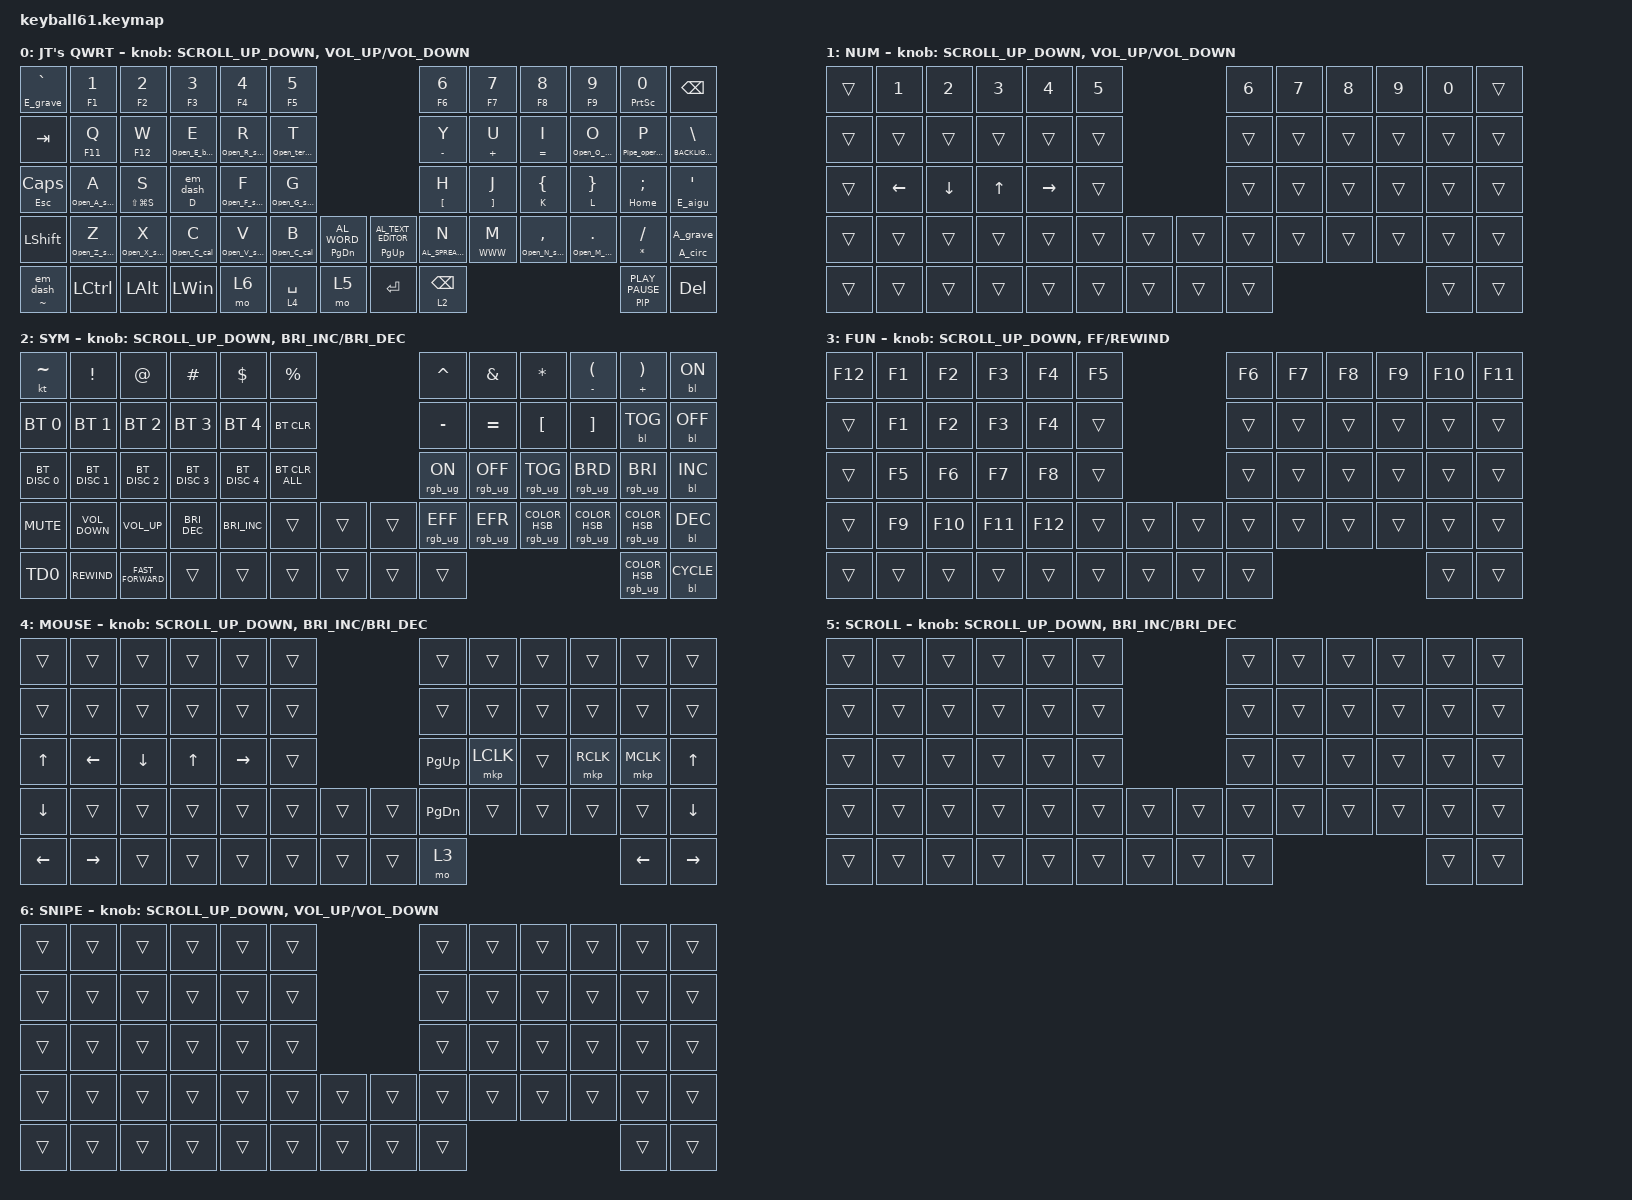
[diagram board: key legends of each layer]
#define DEFAULT 0
#define SYM     1
#define FUN     2
#define MOUSE   3
#define SCROLL  4
#define SNIPE   5

#include <behaviors/mouse_keys.dtsi>
#include <dt-bindings/zmk/mouse.h>
#include <zmk-helpers/helper.h>
#include <zmk-helpers/key-labels/glove80.h>
#include <behaviors.dtsi>
#include <dt-bindings/zmk/backlight.h>
#include <dt-bindings/zmk/bt.h>
#include <dt-bindings/zmk/ext_power.h>
#include <dt-bindings/zmk/keys.h>
#include <dt-bindings/zmk/pointing.h>
#include <dt-bindings/zmk/rgb.h>

&lt {
    tapping-term-ms = <240>;
    flavor = "balanced";
    quick-tap-ms = <150>;
};

&mt {
    tapping-term-ms = <200>;
    flavor = "tap-preferred";
    quick-tap-ms = <150>;
};

/ {
    behaviors {
        HML: HML {
            compatible = "zmk,behavior-hold-tap";
            label = "HML";
            bindings = <&kp>, <&kp>;

            #binding-cells = <2>;
            tapping-term-ms = <200>;
            quick-tap-ms = <175>;
            flavor = "tap-preferred";
            hold-trigger-on-release;
            hold-trigger-key-positions = <0 12 24 36 50 0 1 2 3 4 5 12 13 14 15 16 17 24 25 26 27 28 29 36 37 38 39 40 41 42 50 51 52 53 54 55 56 57 58 6 7 6 7 8 9 10 11 18 19 20 21 22 23 30 31 32 33 34 35 43 44 45 46 47 48 49 57 58 59 60>;
        };

        TD0: TD0 {
            compatible = "zmk,behavior-tap-dance";
            label = "TD0";
            #binding-cells = <0>;
            bindings = <&mt LSHFT W>, <&mkp RCLK>;
        };

        TRMNL: TRMNL {
            compatible = "zmk,behavior-hold-tap";
            label = "TRMNL";
            bindings = <&Open_terminal>, <&kp>;

            #binding-cells = <2>;
            tapping-term-ms = <200>;
            quick-tap-ms = <175>;
            flavor = "tap-preferred";
            hold-trigger-on-release;
            hold-trigger-key-positions = <0 12 24 36 50 0 1 2 3 4 5 12 13 14 15 16 17 24 25 26 27 28 29 36 37 38 39 40 41 42 50 51 52 53 54 55 56 57 58 0 1 2 3 4 5 12 13 14 15 16 17 24 25 26 27 28 29 36 37 38 39 40 41 42 50 51 52 53 54 55 56 57 58>;
        };

        SCROLL_UP_DOWN: behavior_sensor_rotate_mouse_wheel_up_down {
            compatible = "zmk,behavior-sensor-rotate";
            #sensor-binding-cells = <0>;
            bindings = <&msc SCRL_UP>, <&msc SCRL_DOWN>;

            tap-ms = <20>;
        };

        SCRS: SCRS {
            compatible = "zmk,behavior-hold-tap";
            label = "SCRS";
            #binding-cells = <2>;
            tapping-term-ms = <200>;
            quick-tap-ms = <175>;
            flavor = "tap-preferred";
            hold-trigger-on-release;
            hold-trigger-key-positions = <0 12 24 36 50 0 1 2 3 4 5 12 13 14 15 16 17 24 25 26 27 28 29 36 37 38 39 40 41 42 50 51 52 53 54 55 56 57 58 5 6 7 8 9 10 11 17 18 19 20 21 22 23 29 30 31 32 33 34 35 41 42 43 44 45 46 47 48 49 55 56 57 58 59 60>;
            bindings = <&Screenshot>, <&kp>;
        };

        CLBR: CLBR {
            compatible = "zmk,behavior-hold-tap";
            label = "CLBR";
            #binding-cells = <2>;
            tapping-term-ms = <200>;
            quick-tap-ms = <175>;
            flavor = "tap-preferred";
            hold-trigger-on-release;
            hold-trigger-key-positions = <0 12 24 36 50 0 1 2 3 4 5 12 13 14 15 16 17 24 25 26 27 28 29 36 37 38 39 40 41 42 50 51 52 53 54 55 56 57 58 0 1 2 3 4 5 12 13 14 15 16 17 24 25 26 27 28 29 36 37 38 39 40 41 42 50 51 52 53 54 55 56 57 58 6 7 8 9 10 11 18 19 20 21 22 23 30 31 32 33 34 35 43 44 45 46 47 48 49 58 59 60>;
            bindings = <&Open_C_cal>, <&kp>;
        };

        BRWSR: BRWSR {
            compatible = "zmk,behavior-hold-tap";
            label = "BRWSR";
            #binding-cells = <2>;
            tapping-term-ms = <200>;
            quick-tap-ms = <175>;
            flavor = "tap-preferred";
            hold-trigger-on-release;
            hold-trigger-key-positions = <0 12 24 36 50 0 1 2 3 4 5 12 13 14 15 16 17 24 25 26 27 28 29 36 37 38 39 40 41 42 50 51 52 53 54 55 56 57 58 0 1 2 3 4 5 12 13 14 15 16 17 24 25 26 27 28 29 36 37 38 39 40 41 42 50 51 52 53 54 55 56 57 58 6 7 8 9 10 11 18 19 20 21 22 23 30 31 32 33 34 35 43 44 45 46 47 48 49 56 57 58 59 60>;
            bindings = <&Open_E_browser>, <&kp>;
        };

        SH_EM_DASH: SH_EM_DASH {
            compatible = "zmk,behavior-hold-tap";
            label = "SH_EM_DASH";
            #binding-cells = <2>;
            tapping-term-ms = <200>;
            quick-tap-ms = <175>;
            flavor = "tap-preferred";
            hold-trigger-on-release;
            hold-trigger-key-positions = <0 12 24 36 50 0 1 2 3 4 5 12 13 14 15 16 17 24 25 26 27 28 29 36 37 38 39 40 41 42 50 51 52 53 54 55 56 57 58 0 1 2 3 4 5 12 13 14 15 16 17 24 25 26 27 28 29 36 37 38 39 40 41 42 50 51 52 53 54 55 56 57 58 6 7 8 9 10 11 18 19 20 21 22 23 30 31 32 33 34 35 42 43 44 45 46 47 48 49 56 57 58 59 60>;
            bindings = <&kp>, <&em_dash>;
        };

        BCKL: BCKL {
            compatible = "zmk,behavior-hold-tap";
            label = "BCKL";
            #binding-cells = <2>;
            tapping-term-ms = <200>;
            quick-tap-ms = <175>;
            flavor = "tap-preferred";
            hold-trigger-on-release;
            hold-trigger-key-positions = <0 12 24 36 50 0 1 2 3 4 5 12 13 14 15 16 17 24 25 26 27 28 29 36 37 38 39 40 41 42 50 51 52 53 54 55 56 57 58 0 1 2 3 4 5 12 13 14 15 16 17 24 25 26 27 28 29 36 37 38 39 40 41 42 50 51 52 53 54 55 56 57 58 6 7 5 6 7 8 9 10 11 17 18 19 20 21 22 23 29 30 31 32 33 34 35 41 42 43 44 45 46 47 48 49 54 55 56 57 58 59 60>;
            bindings = <&bl>, <&kp>;
        };

        BLTH: BLTH {
            compatible = "zmk,behavior-hold-tap";
            label = "BLTH";
            #binding-cells = <2>;
            tapping-term-ms = <200>;
            quick-tap-ms = <175>;
            flavor = "tap-preferred";
            hold-trigger-on-release;
            hold-trigger-key-positions = <0 12 24 36 50 0 1 2 3 4 5 12 13 14 15 16 17 24 25 26 27 28 29 36 37 38 39 40 41 42 50 51 52 53 54 55 56 57 58 0 1 2 3 4 5 12 13 14 15 16 17 24 25 26 27 28 29 36 37 38 39 40 41 42 50 51 52 53 54 55 56 57 58 5 6 7 8 9 10 11 17 18 19 20 21 22 23 29 30 31 32 33 34 35 41 42 43 44 45 46 47 48 49 55 56 57 58 59 60>;
            bindings = <&bt>, <&kp>;
        };

        S_SMTHNG: S_SMTHNG {
            compatible = "zmk,behavior-hold-tap";
            label = "S_SMTHNG";
            #binding-cells = <2>;
            tapping-term-ms = <200>;
            quick-tap-ms = <175>;
            flavor = "tap-preferred";
            hold-trigger-on-release;
            hold-trigger-key-positions = <0 12 24 36 50 0 1 2 3 4 5 12 13 14 15 16 17 24 25 26 27 28 29 36 37 38 39 40 41 42 50 51 52 53 54 55 56 57 58 0 1 2 3 4 5 12 13 14 15 16 17 24 25 26 27 28 29 36 37 38 39 40 41 42 50 51 52 53 54 55 56 57 58 5 6 7 8 9 10 11 17 18 19 20 21 22 23 29 30 31 32 33 34 35 41 42 43 44 45 46 47 48 49 55 56 57 58 59 60>;
            bindings = <&Open_S_smthng>, <&kp>;
        };

        BLTH_REV: BLTH_REV {
            compatible = "zmk,behavior-hold-tap";
            label = "BLTH_REV";
            #binding-cells = <2>;
            tapping-term-ms = <200>;
            quick-tap-ms = <175>;
            flavor = "tap-preferred";
            hold-trigger-on-release;
            hold-trigger-key-positions = <0 12 24 36 50 0 1 2 3 4 5 12 13 14 15 16 17 24 25 26 27 28 29 36 37 38 39 40 41 42 50 51 52 53 54 55 56 57 58 0 1 2 3 4 5 12 13 14 15 16 17 24 25 26 27 28 29 36 37 38 39 40 41 42 50 51 52 53 54 55 56 57 58>;
            bindings = <&kp>, <&bt>;
        };

        SH_EM_DASH_REV: SH_EM_DASH_REV {
            compatible = "zmk,behavior-hold-tap";
            label = "SH_EM_DASH_REV";
            #binding-cells = <2>;
            tapping-term-ms = <200>;
            quick-tap-ms = <175>;
            flavor = "tap-preferred";
            hold-trigger-on-release;
            hold-trigger-key-positions = <0 12 24 36 50 0 1 2 3 4 5 12 13 14 15 16 17 24 25 26 27 28 29 36 37 38 39 40 41 42 50 51 52 53 54 55 56 57 58 0 1 2 3 4 5 12 13 14 15 16 17 24 25 26 27 28 29 36 37 38 39 40 41 42 50 51 52 53 54 55 56 57 58 6 7 8 9 10 11 18 19 20 21 22 23 30 31 32 33 34 35 42 43 44 45 46 47 48 49 56 57 58 59 60>;
            bindings = <&em_dash>, <&kp>;
        };

        A_SMTHNG: A_SMTHNG {
            compatible = "zmk,behavior-hold-tap";
            label = "A_SMTHNG";
            #binding-cells = <2>;
            tapping-term-ms = <200>;
            quick-tap-ms = <175>;
            flavor = "tap-preferred";
            hold-trigger-on-release;
            hold-trigger-key-positions = <0 12 24 36 50 0 1 2 3 4 5 12 13 14 15 16 17 24 25 26 27 28 29 36 37 38 39 40 41 42 50 51 52 53 54 55 56 57 58 0 1 2 3 4 5 12 13 14 15 16 17 24 25 26 27 28 29 36 37 38 39 40 41 42 50 51 52 53 54 55 56 57 58 6 7 8 9 10 11 18 19 20 21 22 23 30 31 32 33 34 35 43 44 45 46 47 48 49 57 58 59 60>;
            bindings = <&Open_A_smthng>, <&kp>;
        };

        F_SMTHNG: F_SMTHNG {
            compatible = "zmk,behavior-hold-tap";
            label = "F_SMTHNG";
            #binding-cells = <2>;
            tapping-term-ms = <200>;
            quick-tap-ms = <175>;
            flavor = "tap-preferred";
            hold-trigger-on-release;
            hold-trigger-key-positions = <0 12 24 36 50 0 1 2 3 4 5 12 13 14 15 16 17 24 25 26 27 28 29 36 37 38 39 40 41 42 50 51 52 53 54 55 56 57 58 0 1 2 3 4 5 12 13 14 15 16 17 24 25 26 27 28 29 36 37 38 39 40 41 42 50 51 52 53 54 55 56 57 58 6 7 8 9 10 11 18 19 20 21 22 23 30 31 32 33 34 35 42 43 44 45 46 47 48 49 58 59 60>;
            bindings = <&Open_F_smthng>, <&kp>;
        };

        G_SMTHNG: G_SMTHNG {
            compatible = "zmk,behavior-hold-tap";
            label = "G_SMTHNG";
            #binding-cells = <2>;
            tapping-term-ms = <200>;
            quick-tap-ms = <175>;
            flavor = "tap-preferred";
            hold-trigger-on-release;
            hold-trigger-key-positions = <0 12 24 36 50 0 1 2 3 4 5 12 13 14 15 16 17 24 25 26 27 28 29 36 37 38 39 40 41 42 50 51 52 53 54 55 56 57 58 0 1 2 3 4 5 12 13 14 15 16 17 24 25 26 27 28 29 36 37 38 39 40 41 42 50 51 52 53 54 55 56 57 58 5 6 7 8 9 10 11 17 18 19 20 21 22 23 29 30 31 32 33 34 35 41 42 43 44 45 46 47 48 49 55 56 57 58 59 60>;
            bindings = <&Open_G_smthng>, <&kp>;
        };

        Z_SMTHNG: Z_SMTHNG {
            compatible = "zmk,behavior-hold-tap";
            label = "Z_SMTHNG";
            #binding-cells = <2>;
            tapping-term-ms = <200>;
            quick-tap-ms = <175>;
            flavor = "tap-preferred";
            hold-trigger-on-release;
            hold-trigger-key-positions = <0 12 24 36 50 0 1 2 3 4 5 12 13 14 15 16 17 24 25 26 27 28 29 36 37 38 39 40 41 42 50 51 52 53 54 55 56 57 58 0 1 2 3 4 5 12 13 14 15 16 17 24 25 26 27 28 29 36 37 38 39 40 41 42 50 51 52 53 54 55 56 57 58 5 6 7 8 9 10 11 17 18 19 20 21 22 23 29 30 31 32 33 34 35 41 42 43 44 45 46 47 48 49 54 55 56 57 58 59 60>;
            bindings = <&Open_Z_smthng>, <&kp>;
        };

        X_SMTHNG: X_SMTHNG {
            compatible = "zmk,behavior-hold-tap";
            label = "X_SMTHNG";
            #binding-cells = <2>;
            tapping-term-ms = <200>;
            quick-tap-ms = <175>;
            flavor = "tap-preferred";
            hold-trigger-on-release;
            hold-trigger-key-positions = <0 12 24 36 50 0 1 2 3 4 5 12 13 14 15 16 17 24 25 26 27 28 29 36 37 38 39 40 41 42 50 51 52 53 54 55 56 57 58 0 1 2 3 4 5 12 13 14 15 16 17 24 25 26 27 28 29 36 37 38 39 40 41 42 50 51 52 53 54 55 56 57 58 6 7 8 9 10 11 18 19 20 21 22 23 30 31 32 33 34 35 42 43 44 45 46 47 48 49 55 56 57 58 59 60>;
            bindings = <&Open_X_smthng>, <&kp>;
        };

        V_SMTHNG: V_SMTHNG {
            compatible = "zmk,behavior-hold-tap";
            label = "V_SMTHNG";
            #binding-cells = <2>;
            tapping-term-ms = <200>;
            quick-tap-ms = <175>;
            flavor = "tap-preferred";
            hold-trigger-on-release;
            hold-trigger-key-positions = <0 12 24 36 50 0 1 2 3 4 5 12 13 14 15 16 17 24 25 26 27 28 29 36 37 38 39 40 41 42 50 51 52 53 54 55 56 57 58 0 1 2 3 4 5 12 13 14 15 16 17 24 25 26 27 28 29 36 37 38 39 40 41 42 50 51 52 53 54 55 56 57 58 6 7 8 9 10 11 18 19 20 21 22 23 30 31 32 33 34 35 42 43 44 45 46 47 48 49 56 57 58 59 60>;
            bindings = <&Open_V_smthng>, <&kp>;
        };

        B_SMTHNG: B_SMTHNG {
            compatible = "zmk,behavior-hold-tap";
            label = "B_SMTHNG";
            #binding-cells = <2>;
            tapping-term-ms = <200>;
            quick-tap-ms = <175>;
            flavor = "tap-preferred";
            hold-trigger-on-release;
            hold-trigger-key-positions = <0 12 24 36 50 0 1 2 3 4 5 12 13 14 15 16 17 24 25 26 27 28 29 36 37 38 39 40 41 42 50 51 52 53 54 55 56 57 58 0 1 2 3 4 5 12 13 14 15 16 17 24 25 26 27 28 29 36 37 38 39 40 41 42 50 51 52 53 54 55 56 57 58 4 5 6 7 8 9 10 11 16 17 18 19 20 21 22 23 28 29 30 31 32 33 34 35 40 41 42 43 44 45 46 47 48 49 54 55 56 57 58 59 60>;
            bindings = <&Open_B_smthng>, <&kp>;
        };

        O_SMTHNG: O_SMTHNG {
            compatible = "zmk,behavior-hold-tap";
            label = "O_SMTHNG";
            #binding-cells = <2>;
            tapping-term-ms = <200>;
            quick-tap-ms = <175>;
            flavor = "tap-preferred";
            hold-trigger-on-release;
            hold-trigger-key-positions = <0 12 24 36 50 0 1 2 3 4 5 12 13 14 15 16 17 24 25 26 27 28 29 36 37 38 39 40 41 42 50 51 52 53 54 55 56 57 58 0 1 2 3 4 5 12 13 14 15 16 17 24 25 26 27 28 29 36 37 38 39 40 41 42 50 51 52 53 54 55 56 57 58 6 7 8 9 10 11 18 19 20 21 22 23 30 31 32 33 34 35 42 43 44 45 46 47 48 49 55 56 57 58 59 60>;
            bindings = <&Open_O_smthng>, <&kp>;
        };

        N_SMTHNG: N_SMTHNG {
            compatible = "zmk,behavior-hold-tap";
            label = "N_SMTHNG";
            #binding-cells = <2>;
            tapping-term-ms = <200>;
            quick-tap-ms = <175>;
            flavor = "tap-preferred";
            hold-trigger-on-release;
            hold-trigger-key-positions = <0 12 24 36 50 0 1 2 3 4 5 12 13 14 15 16 17 24 25 26 27 28 29 36 37 38 39 40 41 42 50 51 52 53 54 55 56 57 58 0 1 2 3 4 5 12 13 14 15 16 17 24 25 26 27 28 29 36 37 38 39 40 41 42 50 51 52 53 54 55 56 57 58 6 7 8 9 10 11 18 19 20 21 22 23 30 31 32 33 34 35 42 43 44 45 46 47 48 49 55 56 57 58 59 60>;
            bindings = <&Open_N_smthng>, <&kp>;
        };

        M_SMTHNG: M_SMTHNG {
            compatible = "zmk,behavior-hold-tap";
            label = "M_SMTHNG";
            #binding-cells = <2>;
            tapping-term-ms = <200>;
            quick-tap-ms = <175>;
            flavor = "tap-preferred";
            hold-trigger-on-release;
            hold-trigger-key-positions = <0 12 24 36 50 0 1 2 3 4 5 12 13 14 15 16 17 24 25 26 27 28 29 36 37 38 39 40 41 42 50 51 52 53 54 55 56 57 58 0 1 2 3 4 5 12 13 14 15 16 17 24 25 26 27 28 29 36 37 38 39 40 41 42 50 51 52 53 54 55 56 57 58 6 7 8 9 10 11 18 19 20 21 22 23 30 31 32 33 34 35 42 43 44 45 46 47 48 49 56 57 58 59 60>;
            bindings = <&Open_M_smthng>, <&kp>;
        };

        PIPE_OPERATOR: PIPE_OPERATOR {
            compatible = "zmk,behavior-hold-tap";
            label = "PIPE_OPERATOR";
            #binding-cells = <2>;
            tapping-term-ms = <200>;
            quick-tap-ms = <175>;
            flavor = "tap-preferred";
            hold-trigger-on-release;
            hold-trigger-key-positions = <0 12 24 36 50 0 1 2 3 4 5 12 13 14 15 16 17 24 25 26 27 28 29 36 37 38 39 40 41 42 50 51 52 53 54 55 56 57 58 0 1 2 3 4 5 12 13 14 15 16 17 24 25 26 27 28 29 36 37 38 39 40 41 42 50 51 52 53 54 55 56 57 58 6 7 8 9 10 11 18 19 20 21 22 23 30 31 32 33 34 35 42 43 44 45 46 47 48 49 56 57 58 59 60>;
            bindings = <&Pipe_operator>, <&kp>;
        };

        RGB_DBL: RGB_DBL {
            compatible = "zmk,behavior-hold-tap";
            label = "RGB_DBL";
            #binding-cells = <2>;
            tapping-term-ms = <200>;
            quick-tap-ms = <175>;
            flavor = "tap-preferred";
            hold-trigger-on-release;
            hold-trigger-key-positions = <0 12 24 36 50 0 1 2 3 4 5 12 13 14 15 16 17 24 25 26 27 28 29 36 37 38 39 40 41 42 50 51 52 53 54 55 56 57 58 0 1 2 3 4 5 12 13 14 15 16 17 24 25 26 27 28 29 36 37 38 39 40 41 42 50 51 52 53 54 55 56 57 58 6 7 8 9 10 11 18 19 20 21 22 23 30 31 32 33 34 35 42 43 44 45 46 47 48 49 56 57 58 59 60>;
            bindings = <&rgb_ug>, <&rgb_ug>;
        };

        RGB_WHY: RGB_WHY {
            compatible = "zmk,behavior-hold-tap";
            label = "RGB_WHY";
            #binding-cells = <2>;
            tapping-term-ms = <200>;
            quick-tap-ms = <175>;
            flavor = "tap-preferred";
            hold-trigger-on-release;
            hold-trigger-key-positions = <0 12 24 36 50 0 1 2 3 4 5 12 13 14 15 16 17 24 25 26 27 28 29 36 37 38 39 40 41 42 50 51 52 53 54 55 56 57 58 0 1 2 3 4 5 12 13 14 15 16 17 24 25 26 27 28 29 36 37 38 39 40 41 42 50 51 52 53 54 55 56 57 58 6 7 8 9 10 11 18 19 20 21 22 23 30 31 32 33 34 35 42 43 44 45 46 47 48 49 56 57 58 59 60>;
            bindings = <&rgb_ug>, <&kp>;
        };

        R_SMTHNG: R_SMTHNG {
            compatible = "zmk,behavior-hold-tap";
            label = "R_SMTHNG";
            #binding-cells = <2>;
            tapping-term-ms = <200>;
            quick-tap-ms = <175>;
            flavor = "tap-preferred";
            hold-trigger-on-release;
            hold-trigger-key-positions = <0 12 24 36 50 0 1 2 3 4 5 12 13 14 15 16 17 24 25 26 27 28 29 36 37 38 39 40 41 42 50 51 52 53 54 55 56 57 58 0 1 2 3 4 5 12 13 14 15 16 17 24 25 26 27 28 29 36 37 38 39 40 41 42 50 51 52 53 54 55 56 57 58 5 6 7 8 9 10 11 17 18 19 20 21 22 23 29 30 31 32 33 34 35 41 42 43 44 45 46 47 48 49 54 55 56 57 58 59 60>;
            bindings = <&Open_R_smthng>, <&kp>;
        };

        A_ACCTS: A_ACCTS {
            compatible = "zmk,behavior-hold-tap";
            label = "A_ACCTS";
            #binding-cells = <2>;
            tapping-term-ms = <200>;
            quick-tap-ms = <175>;
            flavor = "tap-preferred";
            hold-trigger-on-release;
            hold-trigger-key-positions = <0 12 24 36 50 0 1 2 3 4 5 12 13 14 15 16 17 24 25 26 27 28 29 36 37 38 39 40 41 42 50 51 52 53 54 55 56 57 58 0 1 2 3 4 5 12 13 14 15 16 17 24 25 26 27 28 29 36 37 38 39 40 41 42 50 51 52 53 54 55 56 57 58 5 6 7 8 9 10 11 17 18 19 20 21 22 23 29 30 31 32 33 34 35 41 42 43 44 45 46 47 48 49 54 55 56 57 58 59 60>;
            bindings = <&A_circ>, <&A_grave>;
        };

        E_AIGU: E_AIGU {
            compatible = "zmk,behavior-hold-tap";
            label = "E_AIGU";
            #binding-cells = <2>;
            tapping-term-ms = <200>;
            quick-tap-ms = <175>;
            flavor = "tap-preferred";
            hold-trigger-on-release;
            hold-trigger-key-positions = <0 12 24 36 50 0 1 2 3 4 5 12 13 14 15 16 17 24 25 26 27 28 29 36 37 38 39 40 41 42 50 51 52 53 54 55 56 57 58 0 1 2 3 4 5 12 13 14 15 16 17 24 25 26 27 28 29 36 37 38 39 40 41 42 50 51 52 53 54 55 56 57 58 5 6 7 8 9 10 11 17 18 19 20 21 22 23 29 30 31 32 33 34 35 41 42 43 44 45 46 47 48 49 54 55 56 57 58 59 60>;
            bindings = <&E_aigu>, <&kp>;
        };

        E_GRAVE: E_GRAVE {
            compatible = "zmk,behavior-hold-tap";
            label = "E_GRAVE";
            #binding-cells = <2>;
            tapping-term-ms = <200>;
            quick-tap-ms = <175>;
            flavor = "tap-preferred";
            hold-trigger-on-release;
            hold-trigger-key-positions = <0 12 24 36 50 0 1 2 3 4 5 12 13 14 15 16 17 24 25 26 27 28 29 36 37 38 39 40 41 42 50 51 52 53 54 55 56 57 58 0 1 2 3 4 5 12 13 14 15 16 17 24 25 26 27 28 29 36 37 38 39 40 41 42 50 51 52 53 54 55 56 57 58 5 6 7 8 9 10 11 17 18 19 20 21 22 23 29 30 31 32 33 34 35 41 42 43 44 45 46 47 48 49 54 55 56 57 58 59 60>;
            bindings = <&E_grave>, <&kp>;
        };
    };

    combos {
        compatible = "zmk,combos";

        Lang_1_EN {
            bindings = <&kp LANGUAGE_1>;
            key-positions = <30 29>;
        };

        Lang_2_KR {
            bindings = <&kp LANGUAGE_2>;
            key-positions = <17 18>;
        };

        Lang_3_HI {
            bindings = <&kp LANGUAGE_3>;
            key-positions = <5 6>;
        };

        System_reset {
            bindings = <&sys_reset>;
            key-positions = <47 48 49>;
        };

        Bootloader_mode {
            bindings = <&bootloader>;
            key-positions = <9 10 11>;
        };

        Power_on {
            bindings = <&ext_power EP_ON>;
            key-positions = <21 22 23>;
        };

        Power_off {
            bindings = <&ext_power EP_OFF>;
            key-positions = <33 34 35>;
        };

        Bluetooth1 {
            bindings = <&bt BT_SEL 0>;
            key-positions = <0 1 2>;
        };

        Bluetooth2 {
            bindings = <&bt BT_SEL 1>;
            key-positions = <12 13 14>;
        };

        Bluetooth3 {
            bindings = <&bt BT_SEL 2>;
            key-positions = <24 25 26>;
        };

        Bluetooth4 {
            bindings = <&bt BT_SEL 3>;
            key-positions = <36 37 38>;
        };

        Bluetooth5 {
            bindings = <&bt BT_SEL 4>;
            key-positions = <50 51 52>;
        };

        Bluetooth_next {
            bindings = <&bt BT_NXT>;
            key-positions = <42 43>;
        };

        Volume_down {
            bindings = <&kp C_VOLUME_UP>;
            key-positions = <42 41>;
        };

        Volume_up {
            bindings = <&kp C_VOLUME_DOWN>;
            key-positions = <43 44>;
        };

        Brighness_down {
            bindings = <&kp C_BRIGHTNESS_DEC>;
            key-positions = <42 41 40>;
        };

        Brightness_up {
            bindings = <&kp C_BRIGHTNESS_INC>;
            key-positions = <43 44 45>;
        };

        Backlit_down {
            bindings = <&bl BL_DEC>;
            key-positions = <39 40 41 42>;
        };

        Backlit_up {
            bindings = <&bl BL_INC>;
            key-positions = <43 44 45 46>;
        };

        Backlit_off {
            bindings = <&bl BL_OFF>;
            key-positions = <38 39 40 41 42>;
        };

        Backlit_on {
            bindings = <&bl BL_ON>;
            key-positions = <43 44 45 46 47>;
        };
    };

    macros {
        Open_terminal: Open_terminal {
            compatible = "zmk,behavior-macro";
            #binding-cells = <0>;
            bindings =
                <&kp LCTRL>,
                <&macro_press>,
                <&kp LEFT_ALT>,
                <&macro_press>,
                <&kp NUMBER_4>;

            label = "OPEN_TERMINAL";
        };

        Screenshot: Screenshot {
            compatible = "zmk,behavior-macro";
            #binding-cells = <0>;
            bindings =
                <&kp LEFT_WIN>,
                <&macro_press>,
                <&kp LEFT_SHIFT>,
                <&macro_press>,
                <&kp S>;

            label = "SCREENSHOT";
        };

        em_dash: em_dash {
            compatible = "zmk,behavior-macro";
            #binding-cells = <0>;
            bindings =
                <&macro_press>,
                <&kp LC(LSHFT)>,
                <&macro_tap>,
                <&kp U>,
                <&macro_release>,
                <&kp LC(LSHFT)>,
                <&macro_tap>,
                <&kp N2 &kp N0 &kp N1 &kp N4 &kp RET>;

            label = "EM_DASH";
        };

        Open_C_cal: Open_calibre {
            compatible = "zmk,behavior-macro";
            #binding-cells = <0>;
            bindings =
                <&kp LCTRL>,
                <&macro_press>,
                <&kp LEFT_ALT>,
                <&macro_press>,
                <&kp C>;

            label = "OPEN_CALIBRE";
        };

        Open_E_browser: Open_browser {
            compatible = "zmk,behavior-macro";
            #binding-cells = <0>;
            bindings =
                <&kp LCTRL>,
                <&macro_press>,
                <&kp LEFT_ALT>,
                <&macro_press>,
                <&kp E>;

            label = "OPEN_BROWSER";
        };

        Open_S_smthng: Open_something {
            compatible = "zmk,behavior-macro";
            #binding-cells = <0>;
            bindings =
                <&kp LCTRL>,
                <&macro_press>,
                <&kp LEFT_ALT>,
                <&macro_press>,
                <&kp R>;

            label = "OPEN_SOMETHING";
        };

        Open_A_smthng: Open_A_smthng {
            compatible = "zmk,behavior-macro";
            #binding-cells = <0>;
            bindings =
                <&kp LCTRL>,
                <&macro_press>,
                <&kp LEFT_ALT>,
                <&macro_press>,
                <&kp A>;

            label = "OPEN_A_SMTHNG";
        };

        Open_F_smthng: Open_F_smthng {
            compatible = "zmk,behavior-macro";
            #binding-cells = <0>;
            bindings =
                <&kp LCTRL>,
                <&macro_press>,
                <&kp LEFT_ALT>,
                <&macro_press>,
                <&kp F>;

            label = "OPEN_F_SMTHNG";
        };

        Open_G_smthng: Open_G_smthng {
            compatible = "zmk,behavior-macro";
            #binding-cells = <0>;
            bindings =
                <&kp LCTRL>,
                <&macro_press>,
                <&kp LEFT_ALT>,
                <&macro_press>,
                <&kp G>;

            label = "OPEN_G_SMTHNG";
        };

        Open_Z_smthng: Open_Z_smthng {
            compatible = "zmk,behavior-macro";
            #binding-cells = <0>;
            bindings =
                <&kp LCTRL>,
                <&macro_press>,
                <&kp LEFT_ALT>,
                <&macro_press>,
                <&kp Z>;

            label = "OPEN_Z_SMTHNG";
        };

        Open_X_smthng: Open_X_smthng {
            compatible = "zmk,behavior-macro";
            #binding-cells = <0>;
            bindings =
                <&kp LCTRL>,
                <&macro_press>,
                <&kp LEFT_ALT>,
                <&macro_press>,
                <&kp X>;

            label = "OPEN_X_SMTHNG";
        };

        Open_V_smthng: Open_V_smthng {
            compatible = "zmk,behavior-macro";
            #binding-cells = <0>;
            bindings =
                <&kp LCTRL>,
                <&macro_press>,
                <&kp LEFT_ALT>,
                <&macro_press>,
                <&kp V>;

            label = "OPEN_V_SMTHNG";
        };

        Open_B_smthng: Open_B_smthng {
            compatible = "zmk,behavior-macro";
            #binding-cells = <0>;
            bindings =
                <&kp LCTRL>,
                <&macro_press>,
                <&kp LEFT_ALT>,
                <&macro_press>,
                <&kp B>;

            label = "OPEN_B_SMTHNG";
        };

        Open_O_smthng: Open_O_smthng {
            compatible = "zmk,behavior-macro";
            #binding-cells = <0>;
            bindings =
                <&kp LCTRL>,
                <&macro_press>,
                <&kp LEFT_ALT>,
                <&macro_press>,
                <&kp O>;

            label = "OPEN_O_SMTHNG";
        };

        Open_N_smthng: Open_N_smthng {
            compatible = "zmk,behavior-macro";
            #binding-cells = <0>;
            bindings =
                <&kp LCTRL>,
                <&macro_press>,
                <&kp LEFT_ALT>,
                <&macro_press>,
                <&kp N>;

            label = "OPEN_N_SMTHNG";
        };

        Open_M_smthng: Open_M_smthng {
            compatible = "zmk,behavior-macro";
            #binding-cells = <0>;
            bindings =
                <&kp LCTRL>,
                <&macro_press>,
                <&kp LEFT_ALT>,
                <&macro_press>,
                <&kp M>;

            label = "OPEN_M_SMTHNG";
        };

        Pipe_operator: Pipe_operator {
            compatible = "zmk,behavior-macro";
            #binding-cells = <0>;
            bindings =
                <&kp PERCENT>,
                <&macro_tap>,
                <&kp GREATER_THAN>,
                <&macro_tap>,
                <&kp PERCENT>;

            label = "PIPE_OPERATOR";
        };

        Open_R_smthng: Open_r {
            compatible = "zmk,behavior-macro";
            #binding-cells = <0>;
            bindings =
                <&kp LCTRL>,
                <&macro_press>,
                <&kp LEFT_ALT>,
                <&macro_press>,
                <&kp R>;

            label = "OPEN_R";
        };

        E_aigu: Accent_aigu {
            compatible = "zmk,behavior-macro";
            #binding-cells = <0>;
            bindings = <&kp SQT>, <&macro_press>, <&kp E>;

            label = "ACCENT_AIGU";
        };

        E_grave: Accent_grave {
            compatible = "zmk,behavior-macro";
            #binding-cells = <0>;
            bindings = <&kp GRAVE>, <&macro_press>, <&kp E>;

            label = "ACCENT_GRAVE";
        };

        A_grave: A_grave {
            compatible = "zmk,behavior-macro";
            #binding-cells = <0>;
            bindings = <&kp GRAVE>, <&macro_press>, <&kp A>;

            label = "A_GRAVE";
        };

        A_circ: A_circ {
            compatible = "zmk,behavior-macro";
            #binding-cells = <0>;
            bindings = <&kp CARET>, <&macro_press>, <&kp A>;

            label = "A_CIRC";
        };

        E_circ: E_circ {
            compatible = "zmk,behavior-macro";
            #binding-cells = <0>;
            bindings = <&kp CARET>, <&macro_press>, <&kp E>;

            label = "E_CIRC";
        };

        E_trema: E_trema {
            compatible = "zmk,behavior-macro";
            #binding-cells = <0>;
            bindings = <&kp COLON>, <&macro_press>, <&kp E>;

            label = "E_TREMA";
        };

        O_trema: O_trema {
            compatible = "zmk,behavior-macro";
            #binding-cells = <0>;
            bindings = <&kp COLON>, <&macro_press>, <&kp O>;

            label = "O_TREMA";
        };

        U_trema: U_trema {
            compatible = "zmk,behavior-macro";
            #binding-cells = <0>;
            bindings = <&kp COLON>, <&macro_press>, <&kp U>;

            label = "U_TREMA";
        };

        I_trema: I_trema {
            compatible = "zmk,behavior-macro";
            #binding-cells = <0>;
            bindings = <&kp COLON>, <&macro_press>, <&kp I>;

            label = "I_TREMA";
        };
    };

    keymap {
        compatible = "zmk,keymap";

        default_layer {
            label = "JT's QWRT";
            bindings = <
&E_GRAVE 0 GRAVE     &HML F1 N1     &HML F2 N2        &HML F3 N3       &HML F4 N4     &HML F5 N5                                                              &HML F6 N6               &HML F7 N7            &HML F8 N8         &HML F9 N9          &HML PRINTSCREEN N0      &kp BACKSPACE
&kp TAB              &HML F11 Q     &HML F12 W        &BRWSR 0 E       &R_SMTHNG 0 R  &TRMNL 0 T                                                              &HML MINUS Y             &HML PLUS U           &HML EQUAL I       &O_SMTHNG 0 O       &PIPE_OPERATOR 0 P       &HML C_BACKLIGHT_TOGGLE BACKSLASH
&HML ESCAPE CAPS     &A_SMTHNG 0 A  &HML LS(LG(S)) S  &SH_EM_DASH D 0  &F_SMTHNG 0 F  &G_SMTHNG 0 G                                                           &HML LEFT_BRACKET H      &HML RIGHT_BRACKET J  &HML K LEFT_BRACE  &HML L RIGHT_BRACE  &HML HOME SEMI           &E_AIGU 0 SQT
&kp LEFT_SHIFT       &Z_SMTHNG 0 Z  &X_SMTHNG 0 X     &CLBR 0 C        &V_SMTHNG 0 V  &CLBR 0 B      &HML PAGE_DOWN C_AL_WORD  &HML PAGE_UP C_AL_TEXT_EDITOR  &HML C_AL_SPREADSHEET N  &HML K_WWW M          &N_SMTHNG 0 COMMA  &M_SMTHNG 0 DOT     &HML STAR FSLH           &A_ACCTS 0 0
&SH_EM_DASH TILDE 0  &kp LCTRL      &kp LEFT_ALT      &kp LEFT_WIN     &mo 6          &lt 4 SPACE    &mo 5                     &kp ENTER                      &lt 2 BACKSPACE                                                                       &HML C_PIP K_PLAY_PAUSE  &kp DELETE
            >;

            sensor-bindings =
                <&SCROLL_UP_DOWN>,
                <&inc_dec_kp C_VOLUME_UP C_VOLUME_DOWN>;
        };

        number_layer {
            bindings = <
&trans  &kp N1    &kp N2    &kp N3  &kp N4     &kp N5                  &kp N6  &kp N7  &kp N8  &kp N9  &kp N0  &trans
&trans  &trans    &trans    &trans  &trans     &trans                  &trans  &trans  &trans  &trans  &trans  &trans
&trans  &kp LEFT  &kp DOWN  &kp UP  &kp RIGHT  &trans                  &trans  &trans  &trans  &trans  &trans  &trans
&trans  &trans    &trans    &trans  &trans     &trans  &trans  &trans  &trans  &trans  &trans  &trans  &trans  &trans
&trans  &trans    &trans    &trans  &trans     &trans  &trans  &trans  &trans                          &trans  &trans
            >;

            label = "NUM";
            sensor-bindings =
                <&SCROLL_UP_DOWN>,
                <&inc_dec_kp C_VOLUME_UP C_VOLUME_DOWN>;
        };

        symbol_layer {
            label = "SYM";
            bindings = <
&kt TILDE      &kp EXCLAMATION    &kp AT_SIGN         &kp HASH       &kp DOLLAR            &kp PERCENT                     &kp CARET        &kp AMPERSAND    &kp ASTERISK                     &HML MINUS LEFT_PARENTHESIS       &HML PLUS RIGHT_PARENTHESIS        &bl BL_ON
&bt BT_SEL 0   &bt BT_SEL 1       &bt BT_SEL 2        &bt BT_SEL 3   &bt BT_SEL 4          &bt BT_CLR                      &kp MINUS        &kp EQUAL        &kp LEFT_BRACKET                 &kp RIGHT_BRACKET                 &bl BL_TOG                         &bl BL_OFF
&bt BT_DISC 0  &bt BT_DISC 1      &bt BT_DISC 2       &bt BT_DISC 3  &bt BT_DISC 4         &bt BT_CLR_ALL                  &rgb_ug RGB_ON   &rgb_ug RGB_OFF  &rgb_ug RGB_TOG                  &rgb_ug RGB_BRD                   &rgb_ug RGB_BRI                    &bl BL_INC
&kp K_MUTE     &kp C_VOLUME_DOWN  &kp C_VOLUME_UP     &kp C_BRI_DEC  &kp C_BRIGHTNESS_INC  &trans          &trans  &trans  &rgb_ug RGB_EFF  &rgb_ug RGB_EFR  &rgb_ug RGB_COLOR_HSB(0,100,50)  &rgb_ug RGB_COLOR_HSB(53,100,59)  &rgb_ug RGB_COLOR_HSB(222,100,50)  &bl BL_DEC
&TD0           &kp C_REWIND       &kp C_FAST_FORWARD  &trans         &trans                &trans          &trans  &trans  &trans                                                                                               &rgb_ug RGB_COLOR_HSB(102,100,34)  &bl BL_CYCLE
            >;

            sensor-bindings =
                <&SCROLL_UP_DOWN>,
                <&inc_dec_kp C_BRIGHTNESS_INC C_BRIGHTNESS_DEC>;
        };

        function_layer {
            label = "FUN";
            bindings = <
&kp F12  &kp F1  &kp F2   &kp F3   &kp F4   &kp F5                  &kp F6  &kp F7  &kp F8  &kp F9  &kp F10  &kp F11
&trans   &kp F1  &kp F2   &kp F3   &kp F4   &trans                  &trans  &trans  &trans  &trans  &trans   &trans
&trans   &kp F5  &kp F6   &kp F7   &kp F8   &trans                  &trans  &trans  &trans  &trans  &trans   &trans
&trans   &kp F9  &kp F10  &kp F11  &kp F12  &trans  &trans  &trans  &trans  &trans  &trans  &trans  &trans   &trans
&trans   &trans  &trans   &trans   &trans   &trans  &trans  &trans  &trans                          &trans   &trans
            >;

            sensor-bindings = <&SCROLL_UP_DOWN>, <&inc_dec_kp C_FF C_REWIND>;
        };

        mouse_layer {
            label = "MOUSE";
            bindings = <
&trans        &trans     &trans    &trans  &trans     &trans                  &trans         &trans     &trans  &trans     &trans     &trans
&trans        &trans     &trans    &trans  &trans     &trans                  &trans         &trans     &trans  &trans     &trans     &trans
&kp UP_ARROW  &kp LEFT   &kp DOWN  &kp UP  &kp RIGHT  &trans                  &kp PAGE_UP    &mkp LCLK  &trans  &mkp RCLK  &mkp MCLK  &kp UP_ARROW
&kp DOWN      &trans     &trans    &trans  &trans     &trans  &trans  &trans  &kp PAGE_DOWN  &trans     &trans  &trans     &trans     &kp DOWN
&kp LEFT      &kp RIGHT  &trans    &trans  &trans     &trans  &trans  &trans  &mo 3                                        &kp LEFT   &kp RIGHT
            >;

            sensor-bindings =
                <&SCROLL_UP_DOWN>,
                <&inc_dec_kp C_BRIGHTNESS_INC C_BRIGHTNESS_DEC>;
        };

        scroll_layer {
            label = "SCROLL";
            bindings = <
&trans  &trans  &trans  &trans  &trans  &trans                  &trans  &trans  &trans  &trans  &trans  &trans
&trans  &trans  &trans  &trans  &trans  &trans                  &trans  &trans  &trans  &trans  &trans  &trans
&trans  &trans  &trans  &trans  &trans  &trans                  &trans  &trans  &trans  &trans  &trans  &trans
&trans  &trans  &trans  &trans  &trans  &trans  &trans  &trans  &trans  &trans  &trans  &trans  &trans  &trans
&trans  &trans  &trans  &trans  &trans  &trans  &trans  &trans  &trans                          &trans  &trans
            >;

            sensor-bindings =
                <&SCROLL_UP_DOWN>,
                <&inc_dec_kp C_BRIGHTNESS_INC C_BRIGHTNESS_DEC>;
        };

        snipe_layer {
            label = "SNIPE";
            bindings = <
&trans  &trans  &trans  &trans  &trans  &trans                  &trans  &trans  &trans  &trans  &trans  &trans
&trans  &trans  &trans  &trans  &trans  &trans                  &trans  &trans  &trans  &trans  &trans  &trans
&trans  &trans  &trans  &trans  &trans  &trans                  &trans  &trans  &trans  &trans  &trans  &trans
&trans  &trans  &trans  &trans  &trans  &trans  &trans  &trans  &trans  &trans  &trans  &trans  &trans  &trans
&trans  &trans  &trans  &trans  &trans  &trans  &trans  &trans  &trans                          &trans  &trans
            >;

            sensor-bindings =
                <&SCROLL_UP_DOWN>,
                <&inc_dec_kp C_VOLUME_UP C_VOLUME_DOWN>;
        };
    };
};
